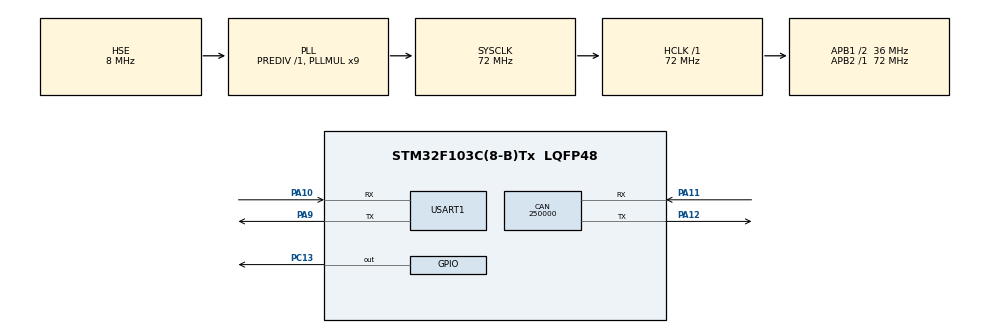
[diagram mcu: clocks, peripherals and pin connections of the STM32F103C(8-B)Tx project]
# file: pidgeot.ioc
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CAN.BS1=CAN_BS1_2TQ
CAN.BS2=CAN_BS2_6TQ
CAN.CalculateBaudRate=250000
CAN.CalculateTimeBit=4000
CAN.CalculateTimeQuantum=444.44444444444446
Mcu.Family=STM32F1
Mcu.Name=STM32F103C(8-B)Tx
Mcu.Package=LQFP48
NVIC.PriorityGroup=NVIC_PRIORITYGROUP_4
NVIC.USB_LP_CAN1_RX0_IRQn=true\:0\:0\:false\:false\:true\:true\:true\:true
PA10.Mode=Asynchronous
PA10.Signal=USART1_RX
PA11.Mode=CAN_Activate
PA11.Signal=CAN_RX
PA12.Mode=CAN_Activate
PA12.Signal=CAN_TX
PA13.Mode=Serial_Wire
PA13.Signal=SYS_JTMS-SWDIO
PA14.Mode=Serial_Wire
PA14.Signal=SYS_JTCK-SWCLK
PA9.Mode=Asynchronous
PA9.Signal=USART1_TX
PC13-TAMPER-RTC.Signal=GPIO_Output
PD0-OSC_IN.Mode=HSE-External-Oscillator
PD0-OSC_IN.Signal=RCC_OSC_IN
PD1-OSC_OUT.Mode=HSE-External-Oscillator
PD1-OSC_OUT.Signal=RCC_OSC_OUT
ProjectManager.HeapSize=0x200
ProjectManager.StackSize=0x400
ProjectManager.TargetToolchain=STM32CubeIDE
RCC.AHBFreq_Value=72000000
RCC.APB1CLKDivider=RCC_HCLK_DIV2
RCC.APB1Freq_Value=36000000
RCC.APB1TimFreq_Value=72000000
RCC.APB2Freq_Value=72000000
RCC.APB2TimFreq_Value=72000000
RCC.HCLKFreq_Value=72000000
RCC.PLLMUL=RCC_PLL_MUL9
RCC.PLLSourceVirtual=RCC_PLLSOURCE_HSE
RCC.SYSCLKFreq_VALUE=72000000
RCC.SYSCLKSource=RCC_SYSCLKSOURCE_PLLCLK
RCC.USBFreq_Value=72000000
USART1.VirtualMode=VM_ASYNC
board=custom

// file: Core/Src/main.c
/* USER CODE BEGIN Header */
/**
  ******************************************************************************
  * @file           : main.c
  * @brief          : Main program body
  ******************************************************************************
  * @attention
  *
  * Copyright (c) 2023 STMicroelectronics.
  * All rights reserved.
  *
  * This software is licensed under terms that can be found in the LICENSE file
  * in the root directory of this software component.
  * If no LICENSE file comes with this software, it is provided AS-IS.
  *
  ******************************************************************************
  */
/* USER CODE END Header */
#include "main.h"

/* USER CODE BEGIN Includes */
  #include <string.h>
  #include<stdio.h>

/* USER CODE END Includes */

CAN_HandleTypeDef hcan;

UART_HandleTypeDef huart1;

void SystemClock_Config(void);
static void MX_GPIO_Init(void);
static void MX_CAN_Init(void);
static void MX_USART1_UART_Init(void);

/* USER CODE BEGIN 0 */

uint8_t dataArray[8];

CAN_RxHeaderTypeDef   RxHeader;

uint8_t               RxData[8];
char		      datacheck[3];
char                string[128];

void send_uart(char *string)
{
	uint8_t len =strlen(string);
	HAL_UART_Transmit(&huart1,(uint8_t *)string,len,2000);//Transmit in blokking mode

}

void HAL_CAN_RxFifo0MsgPendingCallback(CAN_HandleTypeDef *hcan)
{
  if (HAL_CAN_GetRxMessage(hcan, CAN_RX_FIFO0, &RxHeader, RxData) != HAL_OK)
  {
    Error_Handler();
  }
  if (HAL_CAN_GetRxMessage(hcan, CAN_RX_FIFO0, &RxHeader, RxData) == HAL_OK)
    {

	    HAL_GPIO_TogglePin(GPIOC, 13);

    }

  if ((RxHeader.StdId == 0x9800E5F5))
  {
	  //canid = RxHeader.ExtId;
	  sprintf(string, "%d-%d\n",RxHeader.ExtId,RxHeader.DLC);

	  datacheck[0]= 1;
	  send_uart(string);
  }

}

/* USER CODE END 0 */

int main(void)
{

  /* MCU Configuration--------------------------------------------------------*/

  /* Reset of all peripherals, Initializes the Flash interface and the Systick. */
  HAL_Init();

  /* Configure the system clock */
  SystemClock_Config();

  /* Initialize all configured peripherals */
  MX_GPIO_Init();
  MX_CAN_Init();
  MX_USART1_UART_Init();
  /* USER CODE BEGIN 2 */

  HAL_CAN_Start(&hcan);
  //Activate the notification for data pending in fifo0

  if (HAL_CAN_ActivateNotification(&hcan, CAN_IT_RX_FIFO0_MSG_PENDING) != HAL_OK)
   {
 	  Error_Handler();
   }

  /* USER CODE END 2 */

  /* Infinite loop */
  while (1)
  {

    /* USER CODE BEGIN 3 */
	  if (HAL_CAN_GetRxFifoFillLevel(&hcan, CAN_RX_FIFO0) )//> 0)
	 	   {
	 	     // Receive the message
	 	     if (HAL_CAN_GetRxMessage(&hcan, CAN_RX_FIFO0, &RxHeader, RxData) == HAL_OK)
	 	     {
	 	       // Process the received message
	 	       if (RxHeader.StdId == 0x1800e5f5)
	 	       {
	 	         sprintf(string, "%d-%d\n", RxHeader.StdId, RxHeader.DLC);
	 	         send_uart(string);
	 		 datacheck[0]= 1;
	 	         HAL_GPIO_TogglePin(GPIOC, 13);

	 	       }
	 	    /*   for (uint8_t i = 0; i < RxHeader.DLC; i++)
	 	              {
	 	                char temp[5];
	 	                sprintf(temp, "%02X ", RxData[i]);
	 	                strcat(string, temp);
	 	              }

	 	              strcat(string, "\n");

	 	              send_uart(string);*/
	 	     }
	 	   }

	  HAL_StatusTypeDef rxStatus = HAL_CAN_GetRxMessage(&hcan, CAN_RX_FIFO0, &RxHeader, RxData);

	  //if (HAL_CAN_GetRxMessage(&hcan, CAN_RX_FIFO1, &RxHeader, RxData) == HAL_OK)
	 if (rxStatus == HAL_OK)
	  {
	      // Process the received message
	      // Access the received data from RxData array
	      // Process the data according to your application's requirements
	      // Example: Print the received data to UART
	      char receivedData[20];

	      sprintf(receivedData, "Received: %s\n", RxData);
	      send_uart(receivedData);
	      datacheck[0]= 1;
	      // Toggle the GPIOC pin
	      HAL_GPIO_TogglePin(GPIOC, GPIO_PIN_13);
	  }

	  if (HAL_CAN_GetRxMessage(&hcan, CAN_RX_FIFO0, &RxHeader, RxData) == HAL_OK)
	  {
	      // Process the received message
	      // Access the received data from RxData array
	      // Process the data according to your application's requirements
	      // Example: Print the received data to UART
	      char receivedData[20];
	      sprintf(receivedData, "Received: %s\n", RxData);
	      send_uart(receivedData);

	      // Toggle the GPIOC pin
	      HAL_GPIO_TogglePin(GPIOC, GPIO_PIN_13);
	  }

  }
  /* USER CODE END 3 */
}

void SystemClock_Config(void)
{
  RCC_OscInitTypeDef RCC_OscInitStruct = {0};
  RCC_ClkInitTypeDef RCC_ClkInitStruct = {0};

  /** Initializes the RCC Oscillators according to the specified parameters
  * in the RCC_OscInitTypeDef structure.
  */
  RCC_OscInitStruct.OscillatorType = RCC_OSCILLATORTYPE_HSE;
  RCC_OscInitStruct.HSEState = RCC_HSE_ON;
  RCC_OscInitStruct.HSEPredivValue = RCC_HSE_PREDIV_DIV1;
  RCC_OscInitStruct.HSIState = RCC_HSI_ON;
  RCC_OscInitStruct.PLL.PLLState = RCC_PLL_ON;
  RCC_OscInitStruct.PLL.PLLSource = RCC_PLLSOURCE_HSE;
  RCC_OscInitStruct.PLL.PLLMUL = RCC_PLL_MUL9;
  if (HAL_RCC_OscConfig(&RCC_OscInitStruct) != HAL_OK)
  {
    Error_Handler();
  }

  /** Initializes the CPU, AHB and APB buses clocks
  */
  RCC_ClkInitStruct.ClockType = RCC_CLOCKTYPE_HCLK|RCC_CLOCKTYPE_SYSCLK
                              |RCC_CLOCKTYPE_PCLK1|RCC_CLOCKTYPE_PCLK2;
  RCC_ClkInitStruct.SYSCLKSource = RCC_SYSCLKSOURCE_PLLCLK;
  RCC_ClkInitStruct.AHBCLKDivider = RCC_SYSCLK_DIV1;
  RCC_ClkInitStruct.APB1CLKDivider = RCC_HCLK_DIV2;
  RCC_ClkInitStruct.APB2CLKDivider = RCC_HCLK_DIV1;

  if (HAL_RCC_ClockConfig(&RCC_ClkInitStruct, FLASH_LATENCY_2) != HAL_OK)
  {
    Error_Handler();
  }
}

static void MX_CAN_Init(void)
{

  hcan.Instance = CAN1;
  hcan.Init.Prescaler = 16;
  hcan.Init.Mode = CAN_MODE_NORMAL;
  hcan.Init.SyncJumpWidth = CAN_SJW_1TQ;
  hcan.Init.TimeSeg1 = CAN_BS1_2TQ;
  hcan.Init.TimeSeg2 = CAN_BS2_6TQ;
  hcan.Init.TimeTriggeredMode = DISABLE;
  hcan.Init.AutoBusOff = DISABLE;
  hcan.Init.AutoWakeUp = DISABLE;
  hcan.Init.AutoRetransmission = DISABLE;
  hcan.Init.ReceiveFifoLocked = DISABLE;
  hcan.Init.TransmitFifoPriority = DISABLE;
  if (HAL_CAN_Init(&hcan) != HAL_OK)
  {
    Error_Handler();
  }
  /* USER CODE BEGIN CAN_Init 2 */

    CAN_FilterTypeDef canfilterconfiguration;
    canfilterconfiguration.FilterActivation = CAN_FILTER_ENABLE;
    canfilterconfiguration.FilterBank=10;
    canfilterconfiguration.FilterFIFOAssignment=CAN_FILTER_FIFO0;
    canfilterconfiguration.FilterIdHigh=0x9800E5F5;
    canfilterconfiguration.FilterIdLow=0;
    canfilterconfiguration.FilterMaskIdHigh=0x9800E5F5;
    canfilterconfiguration.FilterMaskIdLow=0;
    canfilterconfiguration.FilterMode=CAN_FILTERMODE_IDMASK;
    canfilterconfiguration.FilterScale=CAN_FILTERSCALE_32BIT;
    canfilterconfiguration.SlaveStartFilterBank=0;

    HAL_CAN_ConfigFilter(&hcan, &canfilterconfiguration);

  /* USER CODE END CAN_Init 2 */

}

static void MX_USART1_UART_Init(void)
{

  huart1.Instance = USART1;
  huart1.Init.BaudRate = 115200;
  huart1.Init.WordLength = UART_WORDLENGTH_8B;
  huart1.Init.StopBits = UART_STOPBITS_1;
  huart1.Init.Parity = UART_PARITY_NONE;
  huart1.Init.Mode = UART_MODE_TX_RX;
  huart1.Init.HwFlowCtl = UART_HWCONTROL_NONE;
  huart1.Init.OverSampling = UART_OVERSAMPLING_16;
  if (HAL_UART_Init(&huart1) != HAL_OK)
  {
    Error_Handler();
  }

}

static void MX_GPIO_Init(void)
{
  GPIO_InitTypeDef GPIO_InitStruct = {0};

  /* GPIO Ports Clock Enable */
  __HAL_RCC_GPIOC_CLK_ENABLE();
  __HAL_RCC_GPIOD_CLK_ENABLE();
  __HAL_RCC_GPIOA_CLK_ENABLE();

  /*Configure GPIO pin Output Level */
  HAL_GPIO_WritePin(GPIOC, GPIO_PIN_13, GPIO_PIN_RESET);

  /*Configure GPIO pin : PC13 */
  GPIO_InitStruct.Pin = GPIO_PIN_13;
  GPIO_InitStruct.Mode = GPIO_MODE_OUTPUT_PP;
  GPIO_InitStruct.Pull = GPIO_NOPULL;
  GPIO_InitStruct.Speed = GPIO_SPEED_FREQ_LOW;
  HAL_GPIO_Init(GPIOC, &GPIO_InitStruct);

}

void Error_Handler(void)
{
  __disable_irq();
  while (1)
  {
  }
}
